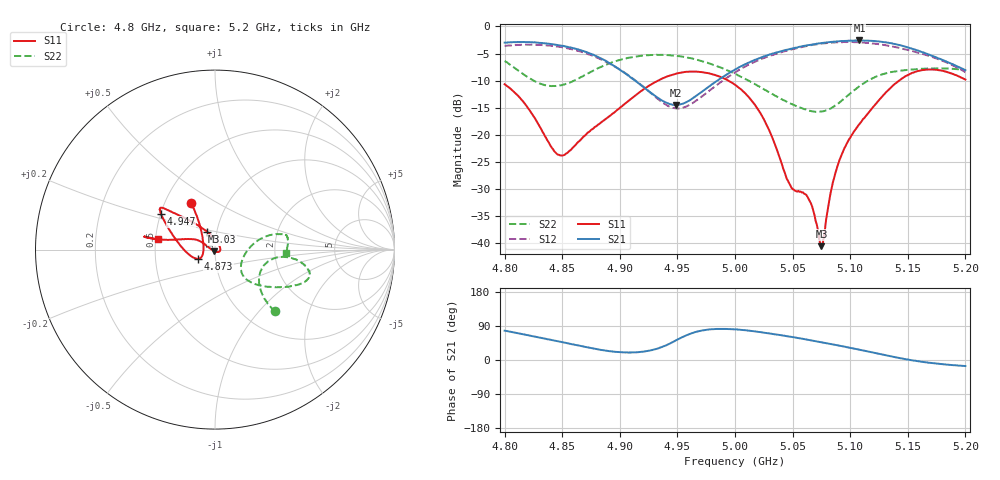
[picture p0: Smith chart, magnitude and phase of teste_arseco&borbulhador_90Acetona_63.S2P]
! Network Analyzer HP8722D
! Hewlett-Packard
! Data name: Linha & Wilkinson
! Saver's name: Rodrigo Anjos
! Comments: Teste da utilização de aquisição
! continua pelo VNA HP8722D
! Time and date: 17/4/2025 11:34
!  Frequency  S11  S21  S12  S22
# HZ  S  MA R 50
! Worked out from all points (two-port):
!   401 points, 4.8 GHz to 5.2 GHz, reference 50 ohm
!   highest |S21| = -2.58 dB at 5.108 GHz (marker M1); lowest = -14.5 dB at 4.949 GHz (marker M2)
!   |S21| within 3 dB of the highest: start of sweep to 4.881 GHz; 5.024 GHz to 5.173 GHz (149 MHz wide, 2.92 % of centre)
!   lowest |S11| = -40.6 dB at 5.075 GHz (marker M3), VSWR 1.02, Z = 49.6 - j0.851 ohm
!   |S11| at or under -10 dB: start of sweep to 4.933 GHz; 4.994 GHz to 5.143 GHz (148.4 MHz wide, 2.93 % of centre)
!   |S22| runs from -15.8 to -5.2 dB; largest |S21 - S12| = 1
!   S11 on the Smith chart (normalised r, x): 4.8 GHz: 0.68, +0.39; 4.873 GHz: 0.83, -0.09; 4.947 GHz: 0.50, +0.23; 5.03 GHz: 0.90, +0.18; 5.2 GHz: 0.51, +0.07
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4.8e9  0.2924 117.1  0.7091 77.5  0.6633 -16.0  0.4792 -45.8
4.818e9  0.1907 119.6  0.7171 66.8  0.68 -23.8  0.3514 -42.6
4.846e9  0.06535 166.9  0.6745 49.6  0.6523 -37.4  0.2825 -20.6
4.867e9  0.09194 -150.0  0.5984 36.4  0.5806 -48.0  0.3436 -7.5
4.873e9  0.1057 -151.2  0.5694 32.8  0.5514 -51.1  0.3711 -6.4
4.903e9  0.1877 175.3  0.3783 20.2  0.3818 -63.2  0.5 -9.4
4.934e9  0.3188 151.2  0.2154 31.3  0.2099 -56.1  0.5464 -15.8
4.947e9  0.3617 146.5  0.1883 49.1  0.1761 -38.2  0.5391 -18.6
4.949e9  0.3665 145.9  0.1878 52.4  0.1747 -34.9  0.5353 -19.2
4.975e9  0.3734 141.5  0.2668 79.6  0.2421 -2.5  0.4658 -26.2
5e9  0.2894 137.2  0.3995 80.8  0.3763 3.3  0.3644 -34.5
5.017e9  0.1905 128.4  0.4911 75.6  0.4692 0.3  0.2944 -40.8
5.03e9  0.108 113.9  0.5501 70.1  0.5341 -4.0  0.2446 -43.5
5.047e9  0.03549 52.4  0.6169 61.8  0.6056 -10.5  0.1958 -41.0
5.061e9  0.02813 -18.5  0.6646 54.7  0.6561 -17.0  0.1716 -32.2
5.067e9  0.02156 -39.1  0.6812 51.6  0.6762 -20.1  0.1641 -26.2
5.075e9  0.009296 -112.8  0.7028 47.0  0.6937 -24.7  0.1633 -15.9
5.089e9  0.05128 154.6  0.7278 38.7  0.7141 -33.2  0.1923 2.7
5.108e9  0.1253 153.0  0.7428 27.3  0.7145 -45.5  0.2805 14.2
5.134e9  0.2638 168.1  0.703 10.6  0.6602 -61.2  0.3761 13.2
5.164e9  0.3966 169.8  0.5738 -5.5  0.5531 -74.8  0.4072 11.1
5.2e9  0.3233 169.5  0.3938 -15.9  0.3778 -84.4  0.3952 -2.6
